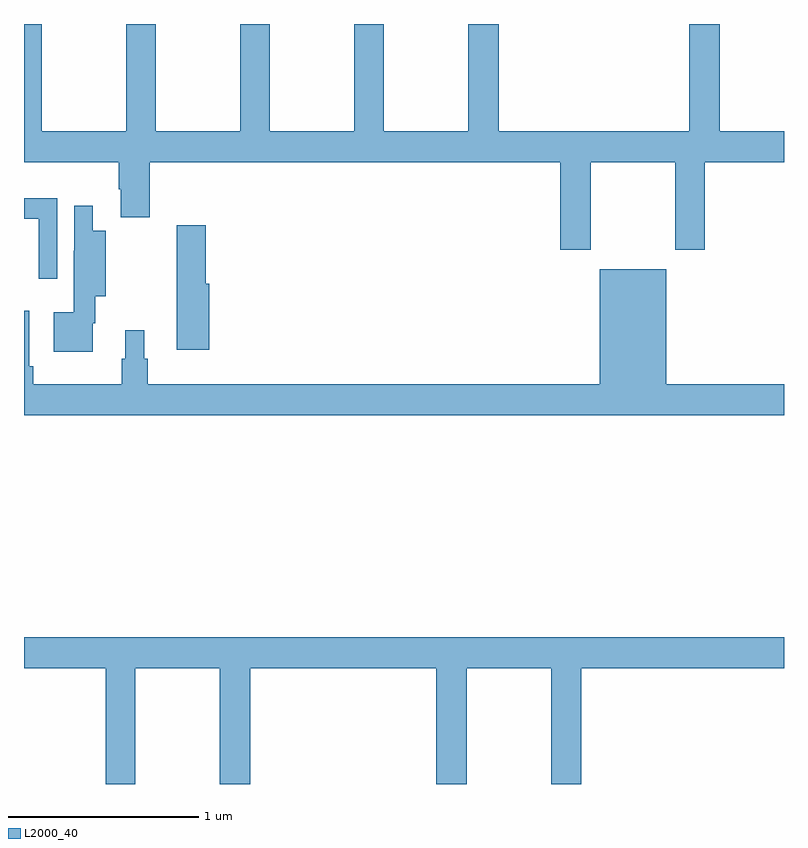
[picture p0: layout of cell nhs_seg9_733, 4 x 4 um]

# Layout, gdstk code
import gdstk
lib = gdstk.Library(unit=1e-6, precision=1e-09)
def P(c, l, *ps):  # polygons
    for p in ps: c.add(gdstk.Polygon(p, *l))
L2000_40 = (2000, 40)

nhs_seg9_733 = lib.new_cell('nhs_seg9_733')
P(nhs_seg9_733, L2000_40, [(151.983,1177.772),(152.428,1177.772),(152.428,1177.311),(152.583,1177.311),(152.583,1177.772),(153,1177.772),(153,1177.936),(152.661,1177.936),(152.661,1178.5),(152.501,1178.5),(152.501,1177.936),(151.499,1177.936),(151.499,1178.5),(151.339,1178.5),(151.339,1177.936),(150.894,1177.936),(150.894,1178.5),(150.739,1178.5),(150.739,1177.936),(150.294,1177.936),(150.294,1178.5),(150.139,1178.5),(150.139,1177.936),(149.694,1177.936),(149.694,1178.5),(149.539,1178.5),(149.539,1177.936),(149.094,1177.936),(149.094,1178.5),(149,1178.5),(149,1177.772),(149.498,1177.772),(149.498,1177.63),(149.51,1177.63),(149.51,1177.482),(149.663,1177.482),(149.663,1177.772),(151.823,1177.772),(151.823,1177.311),(151.983,1177.311)],
  [(149.175,1177.584),(149,1177.584),(149,1177.476),(149.078,1177.476),(149.078,1177.158),(149.175,1177.158)],
  [(149.361,1176.926),(149.374,1176.926),(149.374,1177.067),(149.43,1177.067),(149.43,1177.411),(149.362,1177.411),(149.362,1177.543),(149.264,1177.543),(149.264,1177.307),(149.263,1177.307),(149.263,1176.982),(149.156,1176.982),(149.156,1176.776),(149.361,1176.776)],
  [(149.975,1177.134),(149.957,1177.134),(149.957,1177.441),(149.803,1177.441),(149.803,1177.134),(149.804,1177.134),(149.804,1176.786),(149.975,1176.786)],
  [(153,1176.604),(152.38,1176.604),(152.38,1177.21),(152.03,1177.21),(152.03,1176.604),(149.651,1176.604),(149.651,1176.738),(149.632,1176.738),(149.632,1176.889),(149.534,1176.889),(149.534,1176.738),(149.515,1176.738),(149.515,1176.604),(149.048,1176.604),(149.048,1176.7),(149.028,1176.7),(149.028,1176.991),(149,1176.991),(149,1176.44),(153,1176.44)],
  [(149.586,1175.108),(150.031,1175.108),(150.031,1174.5),(150.191,1174.5),(150.191,1175.108),(151.169,1175.108),(151.169,1174.5),(151.329,1174.5),(151.329,1175.108),(151.774,1175.108),(151.774,1174.5),(151.934,1174.5),(151.934,1175.108),(153,1175.108),(153,1175.272),(149,1175.272),(149,1175.108),(149.431,1175.108),(149.431,1174.5),(149.586,1174.5)])

lib.write_gds('nhs_seg9_733.gds')
